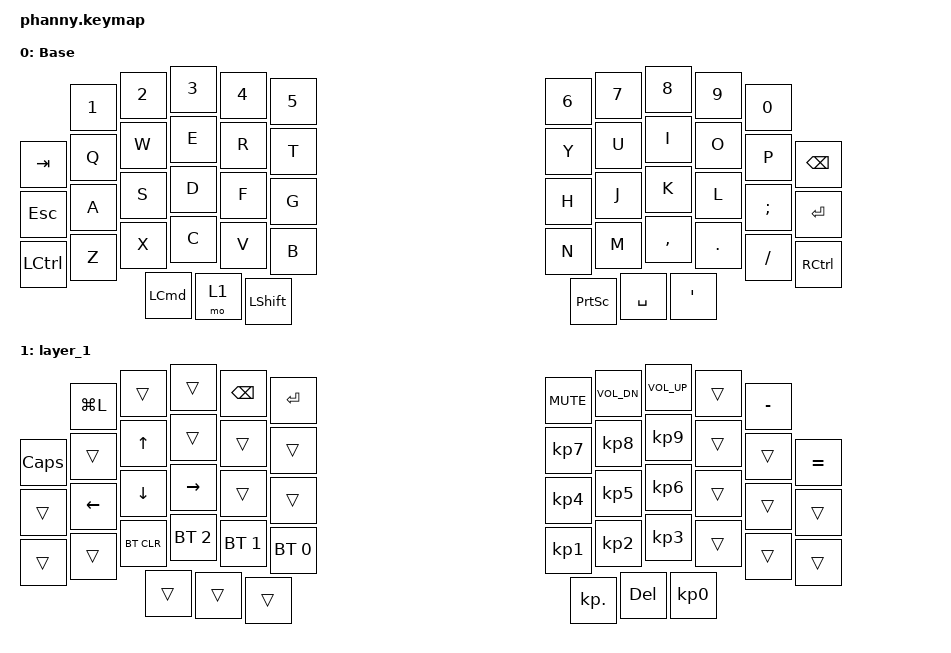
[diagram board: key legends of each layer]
#include <behaviors.dtsi>
#include <dt-bindings/zmk/bt.h>
#include <dt-bindings/zmk/keys.h>

/ {
    keymap {
        compatible = "zmk,keymap";

        default_layer {
            display-name = "Base";
            bindings = <
            &kp NUMBER_1  &kp NUMBER_2  &kp NUMBER_3  &kp NUMBER_4  &kp N5              &kp NUMBER_6     &kp N7     &kp N8     &kp N9      &kp N0
&kp TAB     &kp Q         &kp W         &kp E         &kp R         &kp T               &kp Y            &kp U      &kp I      &kp O       &kp P          &kp BACKSPACE
&kp ESCAPE  &kp A         &kp S         &kp D         &kp F         &kp G               &kp H            &kp J      &kp K      &kp L       &kp SEMICOLON  &kp ENTER
&kp LCTRL   &kp Z         &kp X         &kp C         &kp V         &kp B               &kp N            &kp M      &kp COMMA  &kp PERIOD  &kp SLASH      &kp RCTRL
                                        &kp LCMD      &mo 1         &kp LEFT_SHIFT      &kp PRINTSCREEN  &kp SPACE  &kp SQT
            >;
        };

        layer_1 {
            bindings = <
              &kp LG(L)  &trans        &trans        &kp BACKSPACE  &kp ENTER         &kp K_MUTE       &kp C_VOL_DN     &kp C_VOLUME_UP  &trans  &kp MINUS
&kp CAPSLOCK  &trans     &kp UP_ARROW  &trans        &trans         &trans            &kp KP_NUMBER_7  &kp KP_NUMBER_8  &kp KP_NUMBER_9  &trans  &trans     &kp EQUAL
&trans        &kp LEFT   &kp DOWN      &kp RIGHT     &trans         &trans            &kp KP_NUMBER_4  &kp KP_NUMBER_5  &kp KP_NUMBER_6  &trans  &trans     &trans
&trans        &trans     &bt BT_CLR    &bt BT_SEL 2  &bt BT_SEL 1   &bt BT_SEL 0      &kp KP_NUMBER_1  &kp KP_NUMBER_2  &kp KP_NUMBER_3  &trans  &trans     &trans
                                       &trans        &trans         &trans            &kp KP_DOT       &kp DEL          &kp KP_NUMBER_0
            >;
        };
    };
};
